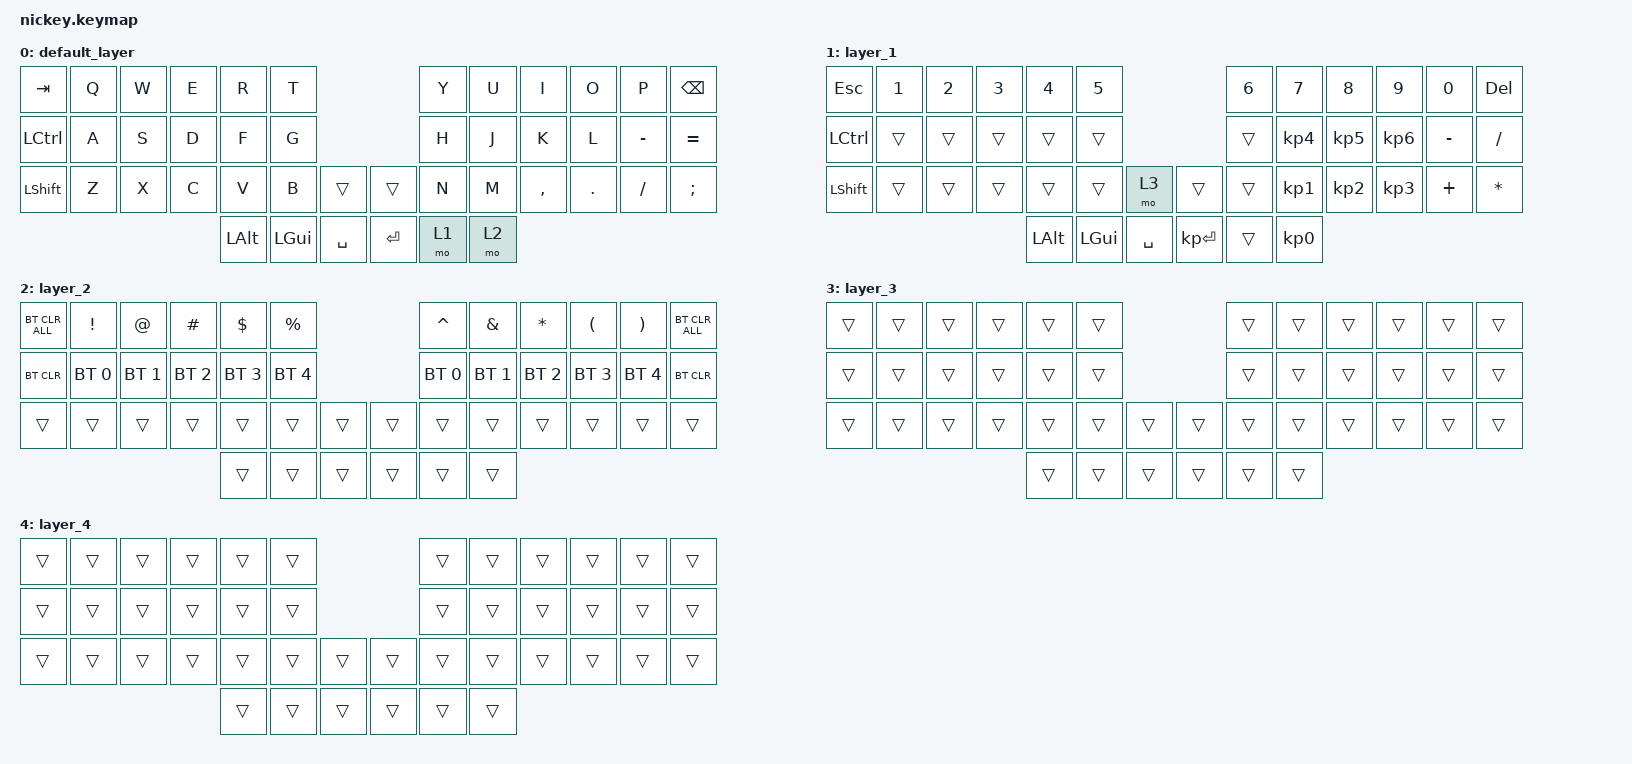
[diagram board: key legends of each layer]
#include <input/processors.dtsi>
#include <dt-bindings/zmk/input_transform.h>
#include <zephyr/dt-bindings/input/input-event-codes.h>
#include <behaviors.dtsi>
#include <dt-bindings/zmk/bt.h>
#include <dt-bindings/zmk/keys.h>
#include <dt-bindings/zmk/pointing.h>

&mt {
    flavor = "balanced";
    quick-tap-ms = <0>;
};

&lt {
    quick-tap-ms = <300>;
    flavor = "balanced";
};

/ {
    combos { compatible = "zmk,combos"; };

    macros {
        to_layer_0: to_layer_0 {
            compatible = "zmk,behavior-macro-one-param";
            #binding-cells = <1>;
            bindings = <&to 0 &macro_param_1to1 &kp MACRO_PLACEHOLDER>;
            label = "TO_LAYER_0";
        };
    };

    behaviors {
        lt_to_layer_0: lt_to_layer_0 {
            compatible = "zmk,behavior-hold-tap";
            label = "LAYER_TAP_TO_0";
            bindings = <&mo>, <&to_layer_0>;

            #binding-cells = <2>;
            tapping-term-ms = <200>;
        };

        scroll_up_down: mouse_wheel_up_down {
            compatible = "zmk,behavior-sensor-rotate";
            #sensor-binding-cells = <0>;
            bindings = <&msc SCRL_DOWN>, <&msc SCRL_UP>;

            tap-ms = <20>;
        };

        scroll_right_left: mouse_wheel_right_left {
            compatible = "zmk,behavior-sensor-rotate";
            #sensor-binding-cells = <0>;
            bindings = <&msc SCRL_LEFT>, <&msc SCRL_RIGHT>;

            tap-ms = <20>;
        };
    };

    keymap {
        compatible = "zmk,keymap";

        default_layer {
            bindings = <
&kp TAB    &kp Q  &kp W  &kp E  &kp R     &kp T                             &kp Y  &kp U  &kp I      &kp O    &kp P      &kp BACKSPACE
&kp LCTRL  &kp A  &kp S  &kp D  &kp F     &kp G                             &kp H  &kp J  &kp K      &kp L    &kp MINUS  &kp EQUAL
&kp LSHFT  &kp Z  &kp X  &kp C  &kp V     &kp B     &trans       &trans     &kp N  &kp M  &kp COMMA  &kp DOT  &kp FSLH   &kp SEMICOLON
                                &kp LALT  &kp LGUI  &kp SPACE    &kp ENTER  &mo 1  &mo 2
            >;
        };

        layer_1 {
            bindings = <
&kp ESCAPE        &kp NUMBER_1  &kp NUMBER_2  &kp NUMBER_3  &kp NUMBER_4  &kp NUMBER_5                             &kp NUMBER_6  &kp N7           &kp N8           &kp N9           &kp N0     &kp DELETE
&kp LEFT_CONTROL  &trans        &trans        &trans        &trans        &trans                                   &trans        &kp KP_NUMBER_4  &kp KP_NUMBER_5  &kp KP_NUMBER_6  &kp MINUS  &kp SLASH
&kp LEFT_SHIFT    &trans        &trans        &trans        &trans        &trans        &mo 3        &trans        &trans        &kp KP_NUMBER_1  &kp KP_NUMBER_2  &kp KP_NUMBER_3  &kp PLUS   &kp ASTERISK
                                                            &kp LEFT_ALT  &kp LEFT_GUI  &kp SPACE    &kp KP_ENTER  &trans        &kp KP_NUMBER_0
            >;
        };

        layer_2 {
            bindings = <
&bt BT_CLR_ALL  &kp EXCLAMATION  &kp AT_SIGN   &kp HASH      &kp DOLLAR    &kp PERCENT                     &kp CARET     &kp AMPERSAND  &kp ASTERISK  &kp LEFT_PARENTHESIS  &kp RIGHT_PARENTHESIS  &bt BT_CLR_ALL
&bt BT_CLR      &bt BT_SEL 0     &bt BT_SEL 1  &bt BT_SEL 2  &bt BT_SEL 3  &bt BT_SEL 4                    &bt BT_SEL 0  &bt BT_SEL 1   &bt BT_SEL 2  &bt BT_SEL 3          &bt BT_SEL 4           &bt BT_CLR
&trans          &trans           &trans        &trans        &trans        &trans        &trans    &trans  &trans        &trans         &trans        &trans                &trans                 &trans
                                                             &trans        &trans        &trans    &trans  &trans        &trans
            >;
        };

        layer_3 {
            bindings = <
&trans  &trans  &trans  &trans  &trans  &trans                    &trans  &trans  &trans  &trans  &trans  &trans
&trans  &trans  &trans  &trans  &trans  &trans                    &trans  &trans  &trans  &trans  &trans  &trans
&trans  &trans  &trans  &trans  &trans  &trans  &trans    &trans  &trans  &trans  &trans  &trans  &trans  &trans
                                &trans  &trans  &trans    &trans  &trans  &trans
            >;
        };

        layer_4 {
            bindings = <
&trans  &trans  &trans  &trans  &trans  &trans                    &trans  &trans  &trans  &trans  &trans  &trans
&trans  &trans  &trans  &trans  &trans  &trans                    &trans  &trans  &trans  &trans  &trans  &trans
&trans  &trans  &trans  &trans  &trans  &trans  &trans    &trans  &trans  &trans  &trans  &trans  &trans  &trans
                                &trans  &trans  &trans    &trans  &trans  &trans
            >;
        };
    };
};
